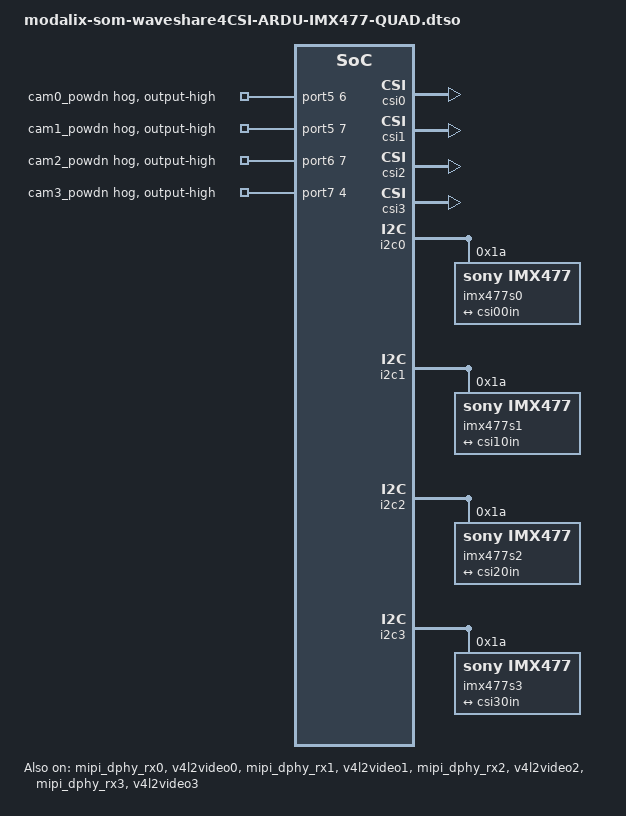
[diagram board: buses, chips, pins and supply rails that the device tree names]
// SPDX-License-Identifier: (GPL-2.0+ OR MIT)
/*
 * Copyright (c) 2026 SiMa ai
 */

/dts-v1/;
/plugin/;

#include "modalix-som-waveshare4CSI-common.dtsi"


&{/} {
        xclk_0: xclk_0 {
                status = "okay";
                compatible = "fixed-clock";
                #clock-cells = <0>;
                clock-frequency = <24000000>;
        };
        xclk_1: xclk_1 {
                status = "okay";
                compatible = "fixed-clock";
                #clock-cells = <0>;
                clock-frequency = <24000000>;
        };
        xclk_2: xclk_2 {
                status = "okay";
                compatible = "fixed-clock";
                #clock-cells = <0>;
                clock-frequency = <24000000>;
        };
        xclk_3: xclk_3 {
                status = "okay";
                compatible = "fixed-clock";
                #clock-cells = <0>;
                clock-frequency = <24000000>;
        };
};

&port5 {
    cam-hog0 {
        gpio-hog;
        /* Set port5 gpio6 to GPIO_ACTIVE_HIGH mode */
        gpios = <6 0>;
        output-high;
        line-name = "cam0_powdn";
    };
};

&csi0 {
    status = "okay";
};

&axi_vdma0 {
    status = "okay";
};

&mipi_dphy_rx0 {
    status = "okay";
};

&v4l2video0 {
    status = "okay";
};

&v4l2vdma0 {
    status = "okay";
};

&port5 {
    cam-hog1 {
        gpio-hog;
        /* Set port5 gpio7 to GPIO_ACTIVE_HIGH mode */
        gpios = <7 0>;
        output-high;
        line-name = "cam1_powdn";
    };
};

&csi1 {
    status = "okay";
};

&axi_vdma1 {
    status = "okay";
};

&mipi_dphy_rx1 {
    status = "okay";
};

&v4l2video1 {
    status = "okay";
};

&v4l2vdma1 {
    status = "okay";
};

&port6 {
    cam-hog2 {
        gpio-hog;
        /* Set port6 gpio7 to GPIO_ACTIVE_HIGH mode */
        gpios = <7 0>;
        output-high;
        line-name = "cam2_powdn";
    };
};

&csi2 {
    status = "okay";
};

&axi_vdma2 {
    status = "okay";
};

&mipi_dphy_rx2 {
    status = "okay";
};

&v4l2video2 {
    status = "okay";
};

&v4l2vdma2 {
    status = "okay";
};

&port7 {
    cam-hog3 {
        gpio-hog;
        /* Set port7 gpio4 to GPIO_ACTIVE_HIGH mode */
        gpios = <4 0>;
        output-high;
        line-name = "cam3_powdn";
    };
};

&csi3 {
    status = "okay";
};

&axi_vdma3 {
    status = "okay";
};

&mipi_dphy_rx3 {
    status = "okay";
};

&v4l2video3 {
    status = "okay";
};

&v4l2vdma3 {
    status = "okay";
};





&csi00in {
    clock-lanes = <0>;
    data-lanes = <1 2>;
    link-frequencies = /bits/ 64 <450000000>;
    remote-endpoint = <&cam00out>;
    clock-continuous;
};

&csi10in {
    clock-lanes = <0>;
    data-lanes = <1 2>;
    link-frequencies = /bits/ 64 <450000000>;
    remote-endpoint = <&cam10out>;
    clock-continuous;
};

&csi20in {
    clock-lanes = <0>;
    data-lanes = <1 2>;
    link-frequencies = /bits/ 64 <450000000>;
    remote-endpoint = <&cam20out>;
    clock-continuous;
};

&csi30in {
    clock-lanes = <0>;
    data-lanes = <1 2>;
    link-frequencies = /bits/ 64 <450000000>;
    remote-endpoint = <&cam30out>;
    clock-continuous;
};

&i2c0 {
        imx477s0: imx477@1a {
                compatible = "sony,imx477";
                reg = <0x1a>;

                clocks = <&xclk_0>;
                clock-names = "xclk";

                port@1 {
                        cam00out: endpoint@0 {
                                clock-lanes = <0>;
                                data-lanes = <1 2>;
                                link-frequencies = /bits/ 64 <450000000>;
                                remote-endpoint = <&csi00in>;
                                clock-continuous;
                        };
                };
        };
};

&i2c1 {
        imx477s1: imx477@1a {
                compatible = "sony,imx477";
                reg = <0x1a>;

                clocks = <&xclk_1>;
                clock-names = "xclk";

                port@1 {
                        cam10out: endpoint@0 {
                                clock-lanes = <0>;
                                data-lanes = <1 2>;
                                link-frequencies = /bits/ 64 <450000000>;
                                remote-endpoint = <&csi10in>;
                                clock-continuous;
                        };
                };
        };
};

&i2c2 {
        imx477s2: imx477@1a {
                compatible = "sony,imx477";
                reg = <0x1a>;

                clocks = <&xclk_2>;
                clock-names = "xclk";

                port@1 {
                        cam20out: endpoint@0 {
                                clock-lanes = <0>;
                                data-lanes = <1 2>;
                                link-frequencies = /bits/ 64 <450000000>;
                                remote-endpoint = <&csi20in>;
                                clock-continuous;
                        };
                };
        };
};

&i2c3 {
        imx477s3: imx477@1a {
                compatible = "sony,imx477";
                reg = <0x1a>;

                clocks = <&xclk_3>;
                clock-names = "xclk";

                port@1 {
                        cam30out: endpoint@0 {
                                clock-lanes = <0>;
                                data-lanes = <1 2>;
                                link-frequencies = /bits/ 64 <450000000>;
                                remote-endpoint = <&csi30in>;
                                clock-continuous;
                        };
                };
        };
};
